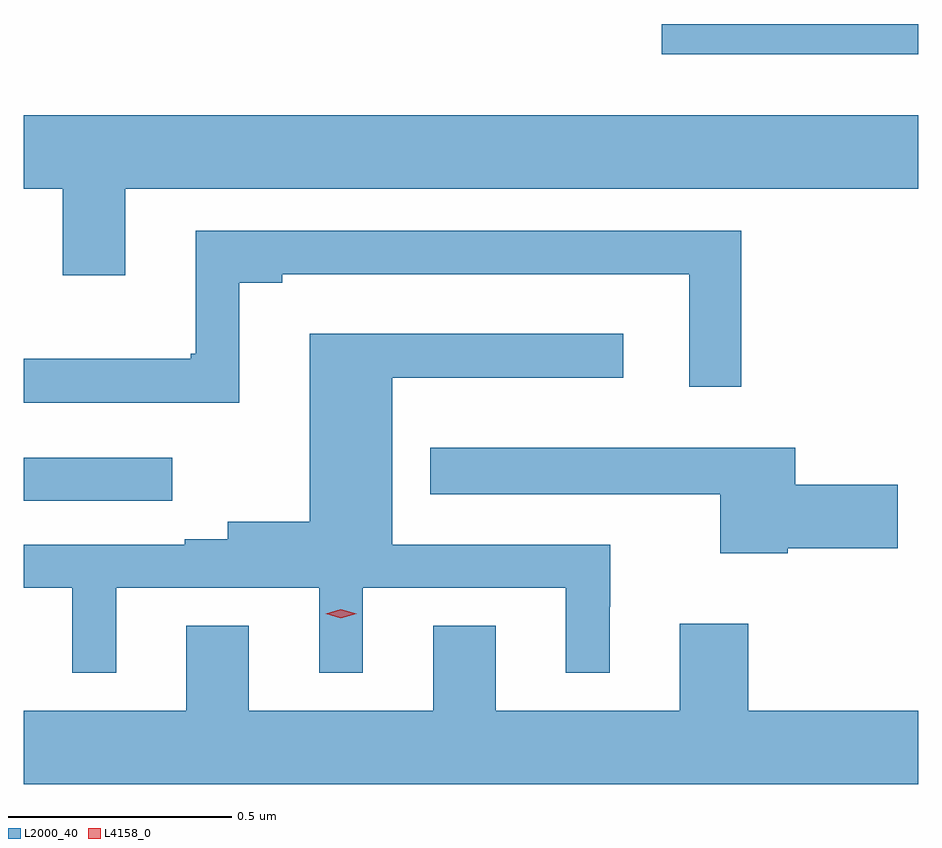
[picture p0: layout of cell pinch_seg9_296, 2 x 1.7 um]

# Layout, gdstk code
import gdstk
lib = gdstk.Library(unit=1e-6, precision=1e-09)
def R(c, l, rs):  # rectangles x0, y0, x1, y1
    for r in rs: c.add(gdstk.rectangle(r[:2], r[2:], *l))
def P(c, l, *ps):  # polygons
    for p in ps: c.add(gdstk.Polygon(p, *l))
L2000_40 = (2000, 40)
L4158_0 = (4158, 0)

pinch_seg9_296 = lib.new_cell('pinch_seg9_296')
R(pinch_seg9_296, L2000_40, [(447.272,1198.386,447.604,1198.482), (448.699,1199.384,449.272,1199.452)])
P(pinch_seg9_296, L2000_40, [(447.499,1199.084),(449.272,1199.084),(449.272,1199.248),(447.272,1199.248),(447.272,1199.084),(447.359,1199.084),(447.359,1198.89),(447.499,1198.89)],
  [(447.754,1198.873),(447.85,1198.873),(447.85,1198.892),(448.76,1198.892),(448.76,1198.641),(448.877,1198.641),(448.877,1198.989),(447.656,1198.989),(447.656,1198.714),(447.645,1198.714),(447.645,1198.703),(447.272,1198.703),(447.272,1198.605),(447.754,1198.605)],
  [(447.478,1198.191),(447.932,1198.191),(447.932,1198.001),(448.03,1198.001),(448.03,1198.191),(448.484,1198.191),(448.484,1198.001),(448.582,1198.001),(448.582,1198.148),(448.584,1198.148),(448.584,1198.287),(448.096,1198.287),(448.096,1198.661),(448.612,1198.661),(448.612,1198.759),(447.911,1198.759),(447.911,1198.339),(447.728,1198.339),(447.728,1198.3),(447.632,1198.3),(447.632,1198.287),(447.272,1198.287),(447.272,1198.191),(447.38,1198.191),(447.38,1198.001),(447.478,1198.001)],
  [(448.98,1198.279),(449.227,1198.279),(449.227,1198.421),(448.997,1198.421),(448.997,1198.504),(448.181,1198.504),(448.181,1198.4),(448.829,1198.4),(448.829,1198.268),(448.98,1198.268)],
  [(449.272,1197.916),(448.892,1197.916),(448.892,1198.111),(448.739,1198.111),(448.739,1197.916),(448.327,1197.916),(448.327,1198.106),(448.187,1198.106),(448.187,1197.916),(447.775,1197.916),(447.775,1198.106),(447.635,1198.106),(447.635,1197.916),(447.272,1197.916),(447.272,1197.752),(449.272,1197.752)])
P(pinch_seg9_296, L4158_0, [(447.981,1198.123),(447.947,1198.133),(447.947,1198.133),(447.947,1198.133),(447.981,1198.143),(448.016,1198.133),(448.016,1198.133),(448.016,1198.133)])

lib.write_gds('pinch_seg9_296.gds')
